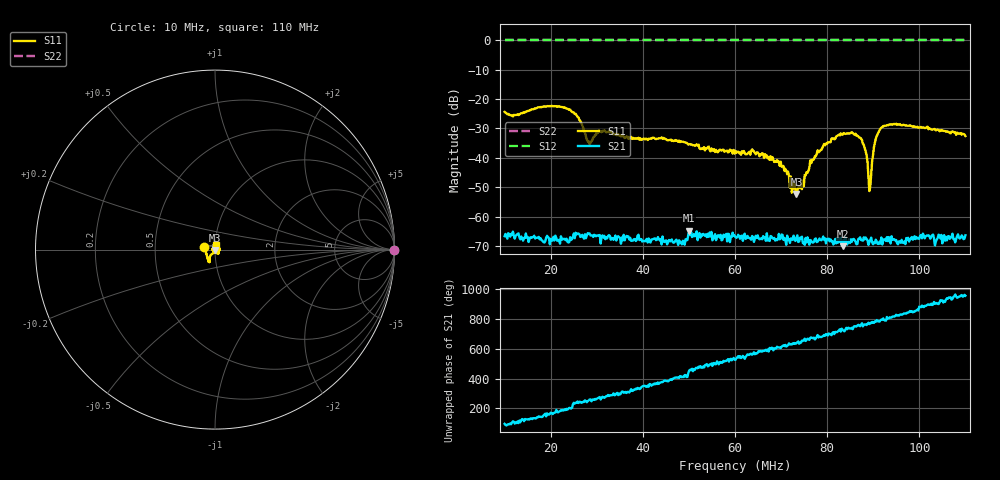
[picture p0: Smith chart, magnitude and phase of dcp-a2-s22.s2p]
! Anritsu VNA Master:  Model: MS2034B/10/19/501
! SN:  1337062
! /bd0/ovro-jan-2016/dcp-a2-s22.s2p
! Existing Calibration Information:
! TYPE:  Current Settings,  Active Cal Settings
! TIME:  01/10/2016 08:58:52 PM,  01/10/2016 03:13:30 PM
! INTERNAL TEMP:  45.0 C,  45.8 C
! # POINTS:  500,  500
! START FREQ:  10.000 MHz,  10.000 MHz
! STOP FREQ:  110.000 MHz,  110.000 MHz
! SOURCE POWER:  Low,  Low
! IFBW:  100 Hz,  100 Hz
! AVG FACTOR:  3 ,  3
! REF PLANE 1:  2.2245 m,  2.2245 m
! REF PLANE 2:  0 mm,  0 mm
! CAL TYPE:  1P2P S11,S21,  1P2P S11,S21
! CAL METHOD:  SOLT,  SOLT
! CAL LINE TYPE:  Coax,  Coax
! DUT PORT 1:  K-Conn(M),  K-Conn(M)
! DUT PORT 2:  N-Conn(M),  N-Conn(M)
! CAL STATUS:  OK: Accuracy High,  --
# GHZ S DB R 50.0
! FREQ.GHZ  S11DB  S11A  S21DB  S21A  S12DB  S12A  S22DB  S22A
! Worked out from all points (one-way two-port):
!   500 points, 10 MHz to 110 MHz, reference 50 ohm
!   highest |S21| = -64.79 dB at 50.08 MHz (marker M1); lowest = -70.1 dB at 83.35 MHz (marker M2)
!   lowest |S11| = -52.3 dB at 73.33 MHz (marker M3), VSWR 1.00, Z = 50 - j0.237 ohm
!   |S11| at or under -10 dB: start of sweep to end of sweep
!   |S22| runs from 0.0 to 0.0 dB; largest |S21 - S12| = 1
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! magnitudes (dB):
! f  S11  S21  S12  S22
! 10 MHz  -24.3  -66.7  0.0  0.0
! 22.22 MHz  -22.6  -66.7  0.0  0.0
! 26.83 MHz  -28.8  -66.2  0.0  0.0
! 28.44 MHz  -35.3  -65.8  0.0  0.0
! 30.84 MHz  -31.1  -69.2  0.0  0.0
! 43.47 MHz  -33.4  -67.6  0.0  0.0
! 48.68 MHz  -34.5  -68.2  0.0  0.0
! 50.08 MHz  -35.4  -64.8  0.0  0.0
! 60.1 MHz  -37.6  -67.0  0.0  0.0
! 69.52 MHz  -41.3  -65.9  0.0  0.0
! 73.33 MHz  -52.3  -67.4  0.0  0.0
! 74.53 MHz  -50.7  -66.9  0.0  0.0
! 76.73 MHz  -40.6  -68.8  0.0  0.0
! 83.35 MHz  -32.1  -70.1  0.0  0.0
! 87.15 MHz  -33.2  -67.1  0.0  0.0
! 88.16 MHz  -36.7  -67.8  0.0  0.0
! 88.96 MHz  -46.1  -69.7  0.0  0.0
! 89.36 MHz  -49.9  -68.0  0.0  0.0
! 90.16 MHz  -36.3  -68.8  0.0  0.0
! 90.76 MHz  -32.6  -68.5  0.0  0.0
! 93.37 MHz  -28.7  -67.0  0.0  0.0
! 110 MHz  -32.5  -66.4  0.0  0.0
